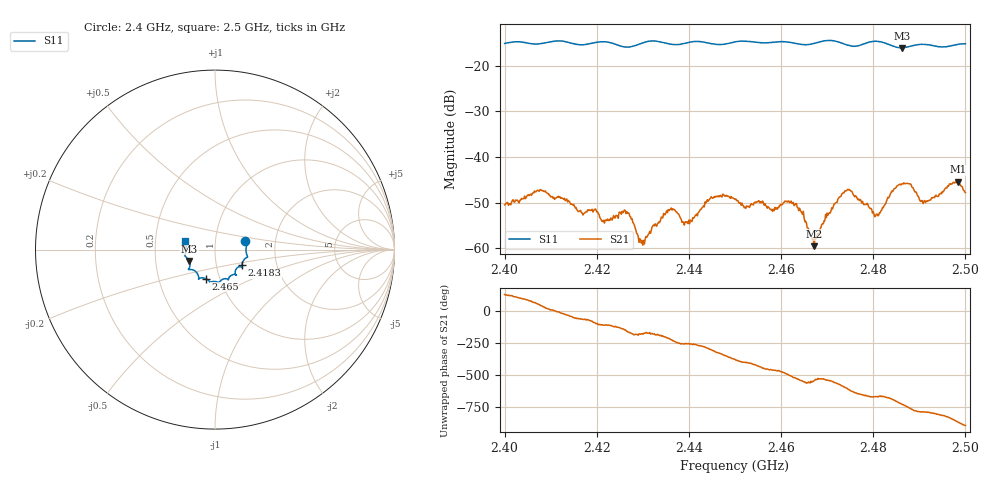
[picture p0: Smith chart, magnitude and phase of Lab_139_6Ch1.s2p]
# Hz S RI R 50
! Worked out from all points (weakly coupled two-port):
!   601 points, 2.4 GHz to 2.5 GHz, reference 50 ohm
!   highest |S21| = -45.41 dB at 2.4983 GHz (marker M1); lowest = -59.6 dB at 2.4672 GHz (marker M2)
!   lowest |S11| = -16.1 dB at 2.4862 GHz (marker M3), VSWR 1.37, Z = 37.2 - j4.82 ohm
!   |S11| at or under -10 dB: start of sweep to end of sweep
!   S12 and S22 are empty: the file has one direction only
!   S11 on the Smith chart (normalised r, x): 2.4 GHz: 1.40, +0.13; 2.4183 GHz: 1.33, -0.24; 2.465 GHz: 0.86, -0.28; 2.5 GHz: 0.71, +0.07
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2.4e9  0.1686 0.0465  -0.00172 0.00243  0 0  0 0
2.408167e9  0.1742 -0.0175  0.00345 0.00248  0 0  0 0
2.416667e9  0.1549 -0.0679  0.00105 -0.00221  0 0  0 0
2.418333e9  0.1499 -0.087  0.000721 -0.00253  0 0  0 0
2.4265e9  0.1214 -0.1033  -0.00233 -0.000965  0 0  0 0
2.429833e9  0.1133 -0.1353  -0.00122 -3.34e-05  0 0  0 0
2.433333e9  0.1178 -0.1412  -0.00186 0.000294  0 0  0 0
2.436e9  0.1001 -0.1396  -0.00194 0.00183  0 0  0 0
2.439333e9  0.077 -0.1586  -0.000444 0.00189  0 0  0 0
2.445e9  0.0624 -0.1621  0.00213 0.00287  0 0  0 0
2.45e9  0.0257 -0.1802  0.00325 -0.00111  0 0  0 0
2.461667e9  -0.0309 -0.1779  -0.00252 -0.0021  0 0  0 0
2.465e9  -0.0524 -0.1613  -0.00208 0.000494  0 0  0 0
2.466667e9  -0.0711 -0.1573  -0.00125 0.000379  0 0  0 0
2.467167e9  -0.0763 -0.1575  -0.00105 7.84e-05  0 0  0 0
2.474e9  -0.0944 -0.142  -0.00219 0.00364  0 0  0 0
2.480667e9  -0.148 -0.1106  0.00145 0.00186  0 0  0 0
2.483333e9  -0.141 -0.0965  0.00258 0.00245  0 0  0 0
2.486167e9  -0.1433 -0.0631  0.00502 -0.0005  0 0  0 0
2.491333e9  -0.1674 -0.0325  0.00112 -0.00296  0 0  0 0
2.498333e9  -0.1665 0.0383  -0.00446 -0.00298  0 0  0 0
2.5e9  -0.1669 0.0471  -0.00402 -0.000536  0 0  0 0
